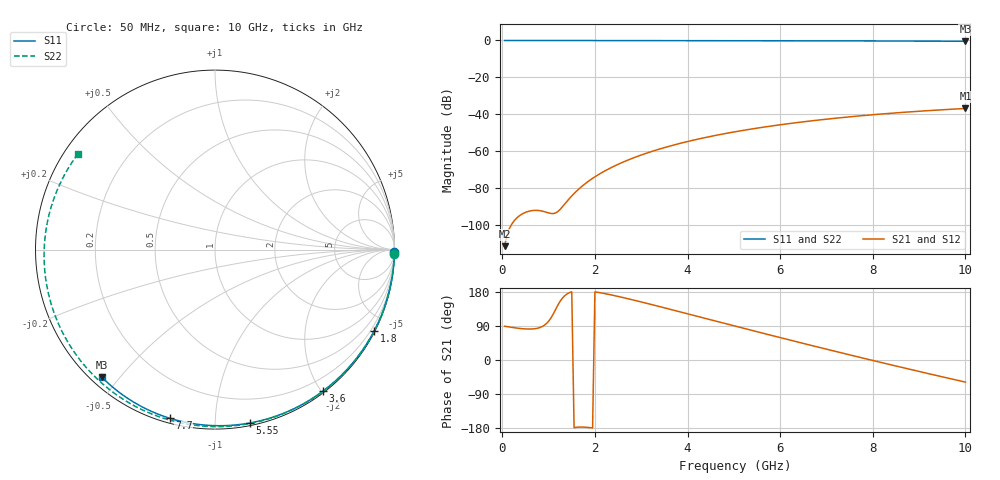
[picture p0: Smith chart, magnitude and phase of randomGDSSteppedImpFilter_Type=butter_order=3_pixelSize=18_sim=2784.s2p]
! freq	dB(S11)	phase(S11)	dB(S12)	phase(S12)
!  dB(S21)	phase(S21)	dB(S22)	phase(S22)
!S-par simulation data
#  GHz  S  DB  R 50
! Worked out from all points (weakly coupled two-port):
!   200 points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, 50 MHz to 10 GHz, reference 50 ohm
!   highest |S21| = -36.94 dB at 10 GHz (marker M1); lowest = -111.7 dB at 50 MHz (marker M2)
!   lowest |S11| = -0.4 dB at 10 GHz (marker M3), VSWR 39.02, Z = 1.54 - j22.5 ohm
!   |S11| at or under -10 dB: nowhere
!   |S22| runs from -0.6 to 0.0 dB; largest |S21 - S12| = 0
!   S11 on the Smith chart (normalised r, x): 50 MHz: open; 1.8 GHz: 0.04, -4.17; 3.6 GHz: 0.02, -2.02; 5.55 GHz: 0.02, -1.22; 7.7 GHz: 0.02, -0.77; 10 GHz: 0.03, -0.45
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0.05  -0.00 -0.8  -111.70 89.1  -111.70 89.1  -0.00 -1.3
0.8  -0.02 -12.1  -92.37 85.2  -92.37 85.2  -0.03 -19.9
1.2  -0.02 -18.1  -92.89 144.7  -92.89 144.7  -0.04 -29.7
1.65  -0.03 -24.7  -80.71 -177.0  -80.71 -177.0  -0.05 -40.6
1.7  -0.03 -25.5  -79.60 -176.9  -79.60 -176.9  -0.05 -41.8
1.75  -0.03 -26.2  -78.56 -177.0  -78.56 -177.0  -0.05 -43.0
1.8  -0.03 -26.9  -77.57 -177.3  -77.57 -177.3  -0.06 -44.2
2.1  -0.04 -31.3  -72.48 177.9  -72.48 177.9  -0.06 -51.3
2.5  -0.05 -37.1  -67.25 167.8  -67.25 167.8  -0.08 -60.5
2.9  -0.06 -42.9  -63.11 156.2  -63.11 156.2  -0.09 -69.6
3.4  -0.07 -49.9  -58.92 140.9  -58.92 140.9  -0.10 -80.6
3.6  -0.07 -52.7  -57.48 134.6  -57.48 134.6  -0.11 -84.9
4.3  -0.09 -62.3  -53.15 112.5  -53.15 112.5  -0.14 -99.6
5.05  -0.11 -72.2  -49.47 88.8  -49.47 88.8  -0.17 -114.9
5.55  -0.13 -78.7  -47.42 73.1  -47.42 73.1  -0.20 -124.8
6.15  -0.15 -86.3  -45.28 54.5  -45.28 54.5  -0.24 -136.5
6.7  -0.18 -93.1  -43.58 37.6  -43.58 37.6  -0.28 -147.1
7.2  -0.21 -99.1  -42.21 22.5  -42.21 22.5  -0.32 -156.8
7.7  -0.24 -105.1  -40.99 7.6  -40.99 7.6  -0.36 -166.6
8.35  -0.29 -112.7  -39.61 -11.5  -39.61 -11.5  -0.43 -179.5
9.2  -0.36 -122.4  -38.09 -35.9  -38.09 -35.9  -0.52 162.8
10  -0.45 -131.5  -36.94 -58.3  -36.94 -58.3  -0.62 145.2
